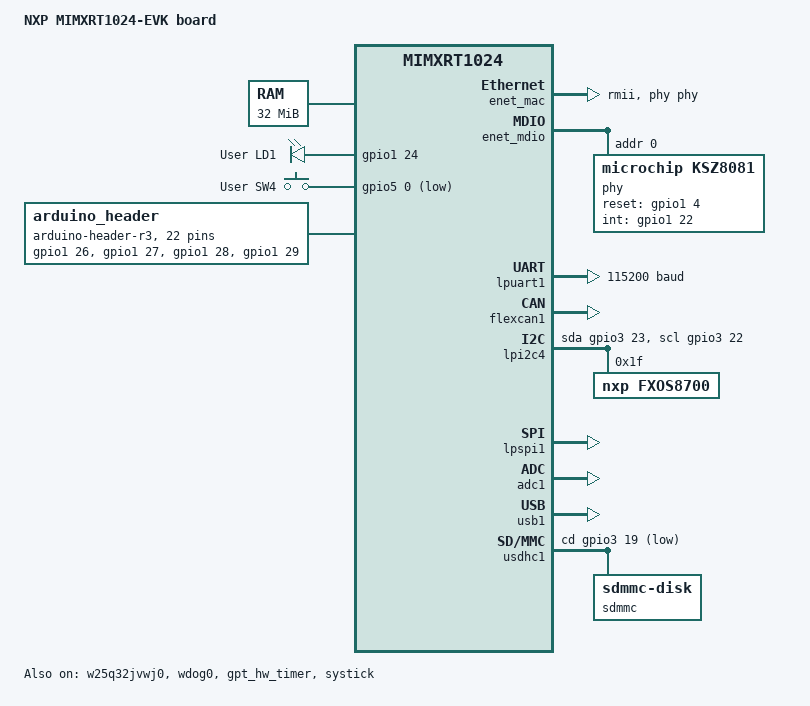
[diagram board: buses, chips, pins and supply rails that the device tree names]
/*
 * Copyright (c) 2020, NXP
 *
 * SPDX-License-Identifier: Apache-2.0
 */

/dts-v1/;

#include <nxp/nxp_rt1024.dtsi>
#include "mimxrt1024_evk-pinctrl.dtsi"
#include <zephyr/dt-bindings/input/input-event-codes.h>

/ {
	model = "NXP MIMXRT1024-EVK board";
	compatible = "nxp,mimxrt1024";

	aliases {
		led0 = &green_led;
		sw0 = &user_button;
		watchdog0 = &wdog0;
		magn0 = &fxos8700;
		accel0 = &fxos8700;
		sdhc0 = &usdhc1;
	};

	chosen {
		zephyr,flash-controller = &w25q32jvwj0;
		zephyr,flash = &w25q32jvwj0;
		zephyr,code-partition = &slot0_partition;
		zephyr,uart-mcumgr = &lpuart1;
		zephyr,sram = &sdram0;
		zephyr,itcm = &itcm;
		zephyr,dtcm = &dtcm;
		zephyr,console = &lpuart1;
		zephyr,shell-uart = &lpuart1;
		zephyr,canbus = &flexcan1;
	};

	sdram0: memory@80000000 {
		/* ISSI IS42S16160J-6TLI */
		device_type = "memory";
		reg = <0x80000000 DT_SIZE_M(32)>;
	};

	leds {
		compatible = "gpio-leds";
		green_led: led-1 {
			gpios = <&gpio1 24 GPIO_ACTIVE_HIGH>;
			label = "User LD1";
		};
	};

	gpio_keys {
		compatible = "gpio-keys";
		user_button: button-1 {
			label = "User SW4";
			gpios = <&gpio5 0 (GPIO_PULL_UP | GPIO_ACTIVE_LOW)>;
			zephyr,code = <INPUT_KEY_0>;
		};
	};

	arduino_header: connector {
		compatible = "arduino-header-r3";
		#gpio-cells = <2>;
		gpio-map-mask = <0xffffffff 0xffffffc0>;
		gpio-map-pass-thru = <0 0x3f>;
		gpio-map = <0 0 &gpio1 26 0>,	/* A0 */
			   <1 0 &gpio1 27 0>,	/* A1 */
			   <2 0 &gpio1 28 0>,	/* A2 */
			   <3 0 &gpio1 29 0>,	/* A3 */
			   <4 0 &gpio1 31 0>,	/* A4 */
			   <5 0 &gpio1 30 0>,	/* A5 */
			   <6 0 &gpio1 25 0>,	/* D0 */
			   <7 0 &gpio1 24 0>,	/* D1 */
			   <8 0 &gpio1 9 0>,	/* D2 */
			   <9 0 &gpio1 7 0>,	/* D3 */
			   <10 0 &gpio1 5 0>,	/* D4 */
			   <11 0 &gpio1 6 0>,	/* D5 */
			   <12 0 &gpio1 14 0>,	/* D6 */
			   <13 0 &gpio1 22 0>,	/* D7 */
			   <14 0 &gpio1 23 0>,	/* D8 */
			   <15 0 &gpio1 15 0>,	/* D9 */
			   <16 0 &gpio1 11 0>,	/* D10 */
			   <17 0 &gpio1 12 0>,	/* D11 */
			   <18 0 &gpio1 13 0>,	/* D12 */
			   <19 0 &gpio1 10 0>,	/* D13 */
			   <20 0 &gpio3 23 0>,	/* D14 */
			   <21 0 &gpio3 22 0>;	/* D15 */
	};
};

arduino_serial: &lpuart2 {
	pinctrl-0 = <&pinmux_lpuart2>;
	pinctrl-1 = <&pinmux_lpuart2_sleep>;
	pinctrl-names = "default", "sleep";
};

&w25q32jvwj0 {
	status = "okay";
	partitions {
		compatible = "fixed-partitions";
		#address-cells = <1>;
		#size-cells = <1>;
		boot_partition: partition@0 {
			label = "mcuboot";
			reg = <0x00000000 DT_SIZE_K(128)>;
		};
		/* The MCUBoot swap-move algorithm uses the last 2 sectors
		 * of the primary slot0 for swap status and move.
		 */
		slot0_partition: partition@20000 {
			label = "image-0";
			reg = <0x00020000 (DT_SIZE_K(1920) + DT_SIZE_K(8))>;
		};
		slot1_partition: partition@202000 {
			label = "image-1";
			reg = <0x00202000 DT_SIZE_K(1920)>;
		};
		storage_partition: partition@3E2000 {
			label = "storage";
			reg = <0x003E2000 DT_SIZE_K(120)>;
		};
	};
};

&enet_mac {
	status = "okay";
	pinctrl-0 = <&pinmux_enet>;
	pinctrl-names = "default";
	phy-handle = <&phy>;
	zephyr,random-mac-address;
	phy-connection-type = "rmii";
};

&enet_mdio {
	status = "okay";
	pinctrl-0 = <&pinmux_enet_mdio>;
	pinctrl-names = "default";
	phy: phy@0 {
		compatible = "microchip,ksz8081";
		reg = <0>;
		status = "okay";
		reset-gpios = <&gpio1 4 GPIO_ACTIVE_HIGH>;
		int-gpios = <&gpio1 22 GPIO_ACTIVE_HIGH>;
		microchip,interface-type = "rmii";
	};
};

&enet_ptp_clock {
	status = "okay";
	pinctrl-0 = <&pinmux_ptp>;
	pinctrl-names = "default";
};

&lpuart1 {
	status = "okay";
	current-speed = <115200>;
	pinctrl-0 = <&pinmux_lpuart1>;
	pinctrl-1 = <&pinmux_lpuart1_sleep>;
	pinctrl-names = "default", "sleep";
};

&lpuart2 {
	pinctrl-0 = <&pinmux_lpuart2>;
	pinctrl-1 = <&pinmux_lpuart2_sleep>;
	pinctrl-names = "default", "sleep";
};

&flexcan1 {
	status = "okay";
	pinctrl-0 = <&pinmux_flexcan1>;
	pinctrl-names = "default";

	can-transceiver {
		max-bitrate = <5000000>;
	};
};

&wdog0 {
	status = "okay";
};

&lpi2c4 {
	status = "okay";
	pinctrl-0 = <&pinmux_lpi2c4>;
	pinctrl-names = "default";
	scl-gpios = <&gpio3 22 GPIO_ACTIVE_HIGH>;
	sda-gpios = <&gpio3 23 GPIO_ACTIVE_HIGH>;

	fxos8700: fxos8700@1f {
		compatible = "nxp,fxos8700";
		reg = <0x1f>;
	};
};

&edma0 {
	status = "okay";
};

&lpspi1 {
	status = "okay";
	/* DMA channels 0 and 1, muxed to LPSPI1 RX and TX */
	dmas = <&edma0 0 13>, <&edma0 1 14>;
	dma-names = "rx", "tx";
	pinctrl-0 = <&pinmux_lpspi1>;
	pinctrl-names = "default";
};

&adc1 {
	status = "okay";
	pinctrl-0 = <&pinmux_adc1>;
	pinctrl-names = "default";
};

/* GPT and Systick are enabled. If power management is enabled, the GPT
 * timer will be used instead of systick, as allows the core clock to
 * be gated.
 */
&gpt_hw_timer {
	status = "okay";
};

&systick {
	status = "okay";
};

zephyr_udc0: &usb1 {
	status = "okay";
};

&usdhc1 {
	status = "okay";
	pinctrl-0 = <&pinmux_usdhc1>;
	pinctrl-1 = <&pinmux_usdhc1_slow>;
	pinctrl-2 = <&pinmux_usdhc1_med>;
	pinctrl-3 = <&pinmux_usdhc1_fast>;
	pinctrl-names = "default", "slow", "med", "fast";
	cd-gpios = <&gpio3 19 GPIO_ACTIVE_LOW>;
	pwr-gpios = <&gpio3 30 GPIO_ACTIVE_HIGH>;
	no-1-8-v;
	sdmmc {
		compatible = "zephyr,sdmmc-disk";
		status = "okay";
	};
};
